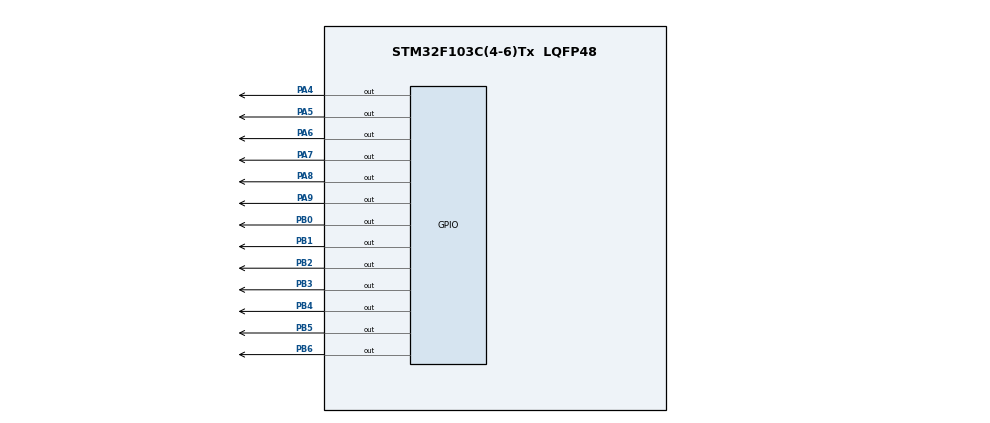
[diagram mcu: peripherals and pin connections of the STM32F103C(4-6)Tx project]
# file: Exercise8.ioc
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Mcu.Family=STM32F1
Mcu.Name=STM32F103C(4-6)Tx
Mcu.Package=LQFP48
NVIC.PriorityGroup=NVIC_PRIORITYGROUP_4
NVIC.TIM2_IRQn=true\:0\:0\:false\:false\:true\:true\:true
PA4.Signal=GPIO_Output
PA5.Signal=GPIO_Output
PA6.Signal=GPIO_Output
PA7.Signal=GPIO_Output
PA8.Signal=GPIO_Output
PA9.Signal=GPIO_Output
PB0.Signal=GPIO_Output
PB1.Signal=GPIO_Output
PB2.Signal=GPIO_Output
PB3.Signal=GPIO_Output
PB4.Signal=GPIO_Output
PB5.Signal=GPIO_Output
PB6.Signal=GPIO_Output
ProjectManager.HeapSize=0x200
ProjectManager.StackSize=0x400
ProjectManager.TargetToolchain=STM32CubeIDE
RCC.APB1Freq_Value=8000000
RCC.APB2Freq_Value=8000000
TIM2.Period=9
TIM2.Prescaler=7999
VP_SYS_VS_ND.Mode=No_Debug
VP_TIM2_VS_ClockSourceINT.Mode=Internal
board=custom

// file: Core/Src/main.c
/* USER CODE BEGIN Header */
/**
  ******************************************************************************
  * @file           : main.c
  * @brief          : Main program body
  ******************************************************************************
  * @attention
  *
  * <h2><center>&copy; Copyright (c) 2021 STMicroelectronics.
  * All rights reserved.</center></h2>
  *
  * This software component is licensed by ST under BSD 3-Clause license,
  * the "License"; You may not use this file except in compliance with the
  * License. You may obtain a copy of the License at:
  *                        opensource.org/licenses/BSD-3-Clause
  *
  ******************************************************************************
  */
/* USER CODE END Header */
#include "main.h"

TIM_HandleTypeDef htim2;

void SystemClock_Config(void);
static void MX_GPIO_Init(void);
static void MX_TIM2_Init(void);

/* USER CODE BEGIN 0 */
int timer0_counter = 0;
int timer0_flag = 0;
int TIMER_CYCLE = 10;
void setTimer0( int duration ){
	timer0_counter = duration / TIMER_CYCLE ;
	timer0_flag = 0;
}
void timer_run (){
	if( timer0_counter > 0){
		timer0_counter --;
		if( timer0_counter == 99) timer0_flag = 5;
		if( timer0_counter == 75) timer0_flag = 4;
		if( timer0_counter == 50) timer0_flag = 3;
		if( timer0_counter == 25) timer0_flag = 2;
		if( timer0_counter == 0) timer0_flag = 1;
	}
}
/* USER CODE END 0 */

int main(void)
{

  /* MCU Configuration--------------------------------------------------------*/

  /* Reset of all peripherals, Initializes the Flash interface and the Systick. */
  HAL_Init();

  /* Configure the system clock */
  SystemClock_Config();

  /* Initialize all configured peripherals */
  MX_GPIO_Init();
  MX_TIM2_Init();
  /* USER CODE BEGIN 2 */
  HAL_TIM_Base_Start_IT (& htim2 );
  /* USER CODE END 2 */

  /* Infinite loop */
  /* USER CODE BEGIN WHILE */

  int hour = 15, minute = 8, second = 1;
  setTimer0 (1000) ;
  updateClockBuffer (hour,minute);
  while (1)
  {
    /* USER CODE END WHILE */
	  if( timer0_flag == 5){
			HAL_GPIO_WritePin(GPIOA, GPIO_PIN_6, 0);
			HAL_GPIO_WritePin(GPIOA, GPIO_PIN_7|GPIO_PIN_8|GPIO_PIN_9, 1);
			update7SEG(0);
	  }
	  if( timer0_flag == 4){
			HAL_GPIO_WritePin(GPIOA, GPIO_PIN_7, 0);
			HAL_GPIO_WritePin(GPIOA, GPIO_PIN_6|GPIO_PIN_8|GPIO_PIN_9, 1);
			update7SEG(1);
	  }
	  if( timer0_flag == 3){
			HAL_GPIO_WritePin(GPIOA,GPIO_PIN_8, 0);
			HAL_GPIO_WritePin(GPIOA, GPIO_PIN_6|GPIO_PIN_7|GPIO_PIN_9, 1);
			update7SEG(2);
	  }
	  if( timer0_flag == 2){
		  HAL_GPIO_WritePin(GPIOA, GPIO_PIN_9, 0);
		  HAL_GPIO_WritePin(GPIOA, GPIO_PIN_6|GPIO_PIN_7|GPIO_PIN_8, 1);
		  update7SEG(3);
	  }

	  if( timer0_flag == 1){
		  HAL_GPIO_TogglePin(GPIOA,GPIO_PIN_4|GPIO_PIN_5);
		  second ++;
		  if ( second >= 5) {
		  	  second = 0;
		  	  minute ++;
		  }
		  if( minute >= 60) {
			  minute = 0;
		  	  hour ++;
		  }
		  if( hour >=24){
			  hour = 0;
		  }
		  updateClockBuffer (hour,minute);
	  	  setTimer0 (1000) ;
	  }
  }
}

void SystemClock_Config(void)
{
  RCC_OscInitTypeDef RCC_OscInitStruct = {0};
  RCC_ClkInitTypeDef RCC_ClkInitStruct = {0};

  /** Initializes the RCC Oscillators according to the specified parameters
  * in the RCC_OscInitTypeDef structure.
  */
  RCC_OscInitStruct.OscillatorType = RCC_OSCILLATORTYPE_HSI;
  RCC_OscInitStruct.HSIState = RCC_HSI_ON;
  RCC_OscInitStruct.HSICalibrationValue = RCC_HSICALIBRATION_DEFAULT;
  RCC_OscInitStruct.PLL.PLLState = RCC_PLL_NONE;
  if (HAL_RCC_OscConfig(&RCC_OscInitStruct) != HAL_OK)
  {
    Error_Handler();
  }
  /** Initializes the CPU, AHB and APB buses clocks
  */
  RCC_ClkInitStruct.ClockType = RCC_CLOCKTYPE_HCLK|RCC_CLOCKTYPE_SYSCLK
                              |RCC_CLOCKTYPE_PCLK1|RCC_CLOCKTYPE_PCLK2;
  RCC_ClkInitStruct.SYSCLKSource = RCC_SYSCLKSOURCE_HSI;
  RCC_ClkInitStruct.AHBCLKDivider = RCC_SYSCLK_DIV1;
  RCC_ClkInitStruct.APB1CLKDivider = RCC_HCLK_DIV1;
  RCC_ClkInitStruct.APB2CLKDivider = RCC_HCLK_DIV1;

  if (HAL_RCC_ClockConfig(&RCC_ClkInitStruct, FLASH_LATENCY_0) != HAL_OK)
  {
    Error_Handler();
  }
}

static void MX_TIM2_Init(void)
{

  TIM_ClockConfigTypeDef sClockSourceConfig = {0};
  TIM_MasterConfigTypeDef sMasterConfig = {0};

  htim2.Instance = TIM2;
  htim2.Init.Prescaler = 7999;
  htim2.Init.CounterMode = TIM_COUNTERMODE_UP;
  htim2.Init.Period = 9;
  htim2.Init.ClockDivision = TIM_CLOCKDIVISION_DIV1;
  htim2.Init.AutoReloadPreload = TIM_AUTORELOAD_PRELOAD_DISABLE;
  if (HAL_TIM_Base_Init(&htim2) != HAL_OK)
  {
    Error_Handler();
  }
  sClockSourceConfig.ClockSource = TIM_CLOCKSOURCE_INTERNAL;
  if (HAL_TIM_ConfigClockSource(&htim2, &sClockSourceConfig) != HAL_OK)
  {
    Error_Handler();
  }
  sMasterConfig.MasterOutputTrigger = TIM_TRGO_RESET;
  sMasterConfig.MasterSlaveMode = TIM_MASTERSLAVEMODE_DISABLE;
  if (HAL_TIMEx_MasterConfigSynchronization(&htim2, &sMasterConfig) != HAL_OK)
  {
    Error_Handler();
  }

}

static void MX_GPIO_Init(void)
{
  GPIO_InitTypeDef GPIO_InitStruct = {0};

  /* GPIO Ports Clock Enable */
  __HAL_RCC_GPIOA_CLK_ENABLE();
  __HAL_RCC_GPIOB_CLK_ENABLE();

  /*Configure GPIO pin Output Level */
  HAL_GPIO_WritePin(GPIOA, GPIO_PIN_4|GPIO_PIN_5|GPIO_PIN_6|GPIO_PIN_7
                          |GPIO_PIN_8|GPIO_PIN_9, GPIO_PIN_SET);

  /*Configure GPIO pin Output Level */
  HAL_GPIO_WritePin(GPIOB, GPIO_PIN_0|GPIO_PIN_1|GPIO_PIN_2|GPIO_PIN_3
                          |GPIO_PIN_4|GPIO_PIN_5|GPIO_PIN_6, GPIO_PIN_SET);

  /*Configure GPIO pins : PA4 PA5 PA6 PA7
                           PA8 PA9 */
  GPIO_InitStruct.Pin = GPIO_PIN_4|GPIO_PIN_5|GPIO_PIN_6|GPIO_PIN_7
                          |GPIO_PIN_8|GPIO_PIN_9;
  GPIO_InitStruct.Mode = GPIO_MODE_OUTPUT_PP;
  GPIO_InitStruct.Pull = GPIO_NOPULL;
  GPIO_InitStruct.Speed = GPIO_SPEED_FREQ_LOW;
  HAL_GPIO_Init(GPIOA, &GPIO_InitStruct);

  /*Configure GPIO pins : PB0 PB1 PB2 PB3
                           PB4 PB5 PB6 */
  GPIO_InitStruct.Pin = GPIO_PIN_0|GPIO_PIN_1|GPIO_PIN_2|GPIO_PIN_3
                          |GPIO_PIN_4|GPIO_PIN_5|GPIO_PIN_6;
  GPIO_InitStruct.Mode = GPIO_MODE_OUTPUT_PP;
  GPIO_InitStruct.Pull = GPIO_NOPULL;
  GPIO_InitStruct.Speed = GPIO_SPEED_FREQ_LOW;
  HAL_GPIO_Init(GPIOB, &GPIO_InitStruct);

}

/* USER CODE BEGIN 4 */
void HAL_TIM_PeriodElapsedCallback ( TIM_HandleTypeDef * htim ){
	timer_run ();
}
void display7SEG(int num){
	if ( num==0 ) {
		HAL_GPIO_WritePin(GPIOB, GPIO_PIN_0|GPIO_PIN_1|GPIO_PIN_2|GPIO_PIN_3|GPIO_PIN_4|GPIO_PIN_5,0 );
		HAL_GPIO_WritePin(GPIOB, GPIO_PIN_6,1 );
	}
	if ( num==1 ) {
		HAL_GPIO_WritePin(GPIOB, GPIO_PIN_0|GPIO_PIN_3|GPIO_PIN_4|GPIO_PIN_5|GPIO_PIN_6, 1 );
		HAL_GPIO_WritePin(GPIOB, GPIO_PIN_1|GPIO_PIN_2, 0 );
	}
	if ( num==2 ) {
		HAL_GPIO_WritePin(GPIOB, GPIO_PIN_0|GPIO_PIN_1|GPIO_PIN_3|GPIO_PIN_4|GPIO_PIN_6,0 );
		HAL_GPIO_WritePin(GPIOB, GPIO_PIN_2|GPIO_PIN_5,1 );
	}
	if ( num==3 ) {
		HAL_GPIO_WritePin(GPIOB, GPIO_PIN_0|GPIO_PIN_1|GPIO_PIN_2|GPIO_PIN_3|GPIO_PIN_6,0 );
		HAL_GPIO_WritePin(GPIOB, GPIO_PIN_4|GPIO_PIN_5,1 );
	}
	if ( num==4 ) {
		HAL_GPIO_WritePin(GPIOB, GPIO_PIN_1|GPIO_PIN_2|GPIO_PIN_5|GPIO_PIN_6,0 );
		HAL_GPIO_WritePin(GPIOB, GPIO_PIN_0|GPIO_PIN_3|GPIO_PIN_4,1 );
	}
	if ( num==5 ) {
		HAL_GPIO_WritePin(GPIOB, GPIO_PIN_0|GPIO_PIN_2|GPIO_PIN_3|GPIO_PIN_5|GPIO_PIN_6,0 );
		HAL_GPIO_WritePin(GPIOB, GPIO_PIN_1|GPIO_PIN_4,1);
	}
	if ( num==6 ) {
		HAL_GPIO_WritePin(GPIOB, GPIO_PIN_0|GPIO_PIN_2|GPIO_PIN_3|GPIO_PIN_4|GPIO_PIN_5|GPIO_PIN_6,0 );
		HAL_GPIO_WritePin(GPIOB, GPIO_PIN_1,1 );
	}
	if ( num==7 ) {
		HAL_GPIO_WritePin(GPIOB, GPIO_PIN_0|GPIO_PIN_1|GPIO_PIN_2,0 );
		HAL_GPIO_WritePin(GPIOB, GPIO_PIN_3|GPIO_PIN_4|GPIO_PIN_5|GPIO_PIN_6,1 );
	}
	if ( num==8 ) {
		HAL_GPIO_WritePin(GPIOB, GPIO_PIN_0|GPIO_PIN_1|GPIO_PIN_2|GPIO_PIN_3|GPIO_PIN_4|GPIO_PIN_5|GPIO_PIN_6,0 );
	}
	if ( num==9 ) {
		HAL_GPIO_WritePin(GPIOB, GPIO_PIN_0|GPIO_PIN_1|GPIO_PIN_2|GPIO_PIN_3|GPIO_PIN_5|GPIO_PIN_6,0 );
		HAL_GPIO_WritePin(GPIOB, GPIO_PIN_4,1 );
	}
}

const int MAX_LED = 4;
int index_led = 0;
int led_buffer [4] = {1, 2, 3, 0};
void update7SEG ( int index ){
	 switch ( index ){
	 case 0:
	 // Display the first 7 SEG with led_buffer [0]
		 display7SEG(led_buffer[0]);
	 break ;
	 case 1:
	 // Display the second 7 SEG with led_buffer [1]
		 display7SEG(led_buffer[1]);
	 break ;
	 case 2:
	 // Display the third 7 SEG with led_buffer [2]
		 display7SEG(led_buffer[2]);
	 break ;
	 case 3:
	 // Display the forth 7 SEG with led_buffer [3]
		 display7SEG(led_buffer[3]);
	 break ;

	 default:
	 	 break ;
 }
}

void updateClockBuffer(int h, int m){
	led_buffer[0]=h/10;
	led_buffer[1]=h%10;
	led_buffer[2]=m/10;
	led_buffer[3]=m%10;
}

/* USER CODE END 4 */

void Error_Handler(void)
{
  __disable_irq();
  while (1)
  {
  }
}

/************************ (C) COPYRIGHT STMicroelectronics *****END OF FILE****/
